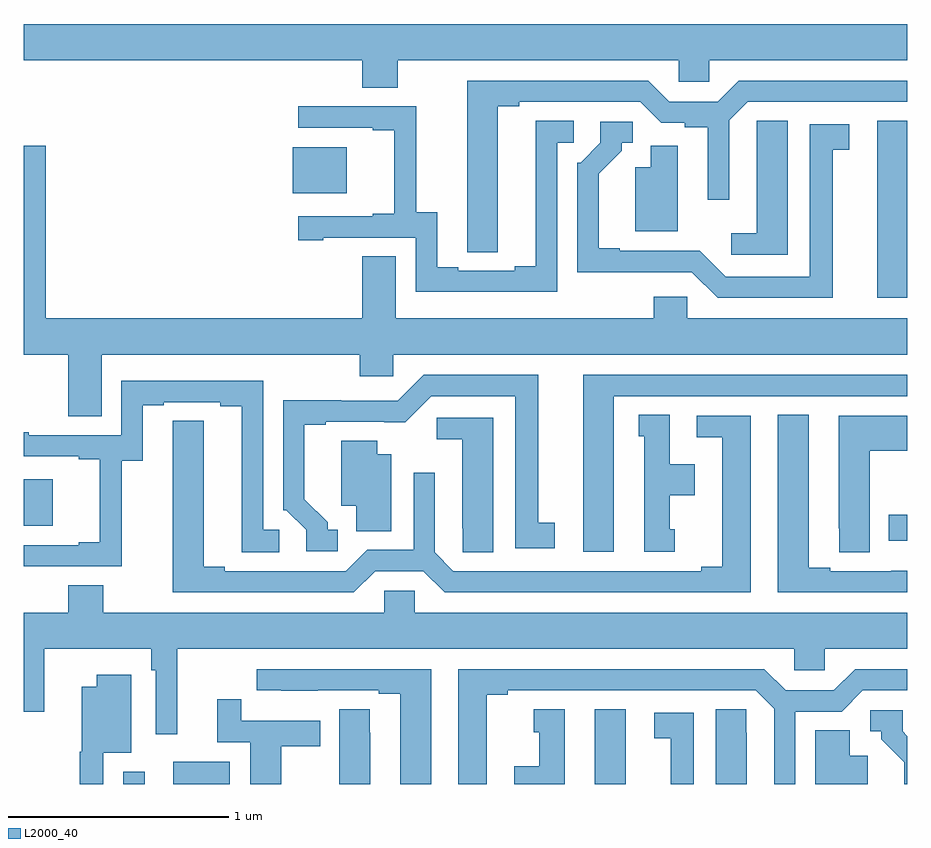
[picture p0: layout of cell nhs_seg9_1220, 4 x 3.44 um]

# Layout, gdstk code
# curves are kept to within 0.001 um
import gdstk
lib = gdstk.Library(unit=1e-6, precision=1e-09)
def R(c, l, rs):  # rectangles x0, y0, x1, y1
    for r in rs: c.add(gdstk.rectangle(r[:2], r[2:], *l))
def P(c, l, *ps):  # polygons
    for p in ps: c.add(gdstk.Polygon(p, *l))
L2000_40 = (2000, 40)

nhs_seg9_1220 = lib.new_cell('nhs_seg9_1220')
R(nhs_seg9_1220, L2000_40, [(179.451,1170.5,179.548,1170.556), (179.678,1170.5,179.932,1170.601), (181.586,1170.5,181.726,1170.838), (182.915,1171.602,183,1171.719), (179,1171.67,179.131,1171.879), (182.864,1172.7,183,1173.502), (180.218,1173.173,180.463,1173.382)])
P(nhs_seg9_1220, L2000_40, [(180.693,1173.776),(181.965,1173.776),(181.965,1173.678),(182.103,1173.678),(182.103,1173.776),(183,1173.776),(183,1173.94),(179,1173.94),(179,1173.776),(180.533,1173.776),(180.533,1173.652),(180.693,1173.652)],
  [(181.147,1173.568),(181.243,1173.568),(181.243,1173.588),(181.791,1173.588),(181.887,1173.492),(181.992,1173.492),(181.992,1173.472),(182.096,1173.472),(182.096,1173.144),(182.193,1173.144),(182.193,1173.504),(182.277,1173.588),(183,1173.588),(183,1173.684),(182.237,1173.684),(182.141,1173.588),(181.923,1173.588),(181.827,1173.684),(181.007,1173.684),(181.008,1172.908),(181.147,1172.908)],
  [(181.416,1173.402),(181.489,1173.402),(181.489,1173.503),(181.319,1173.503),(181.319,1172.843),(181.223,1172.843),(181.223,1172.823),(180.967,1172.823),(180.967,1172.838),(180.871,1172.838),(180.871,1173.089),(180.777,1173.089),(180.777,1173.567),(180.243,1173.567),(180.243,1173.471),(180.581,1173.471),(180.581,1173.459),(180.677,1173.459),(180.677,1173.082),(180.581,1173.082),(180.581,1173.069),(180.243,1173.069),(180.243,1172.961),(180.355,1172.961),(180.355,1172.973),(180.774,1172.973),(180.774,1172.727),(181.416,1172.727)],
  [(182.458,1173.503),(182.319,1173.503),(182.319,1173.395),(182.318,1173.395),(182.318,1172.992),(182.202,1172.992),(182.202,1172.895),(182.458,1172.895)],
  [(182.662,1173.37),(182.737,1173.37),(182.737,1173.486),(182.558,1173.486),(182.558,1172.796),(182.178,1172.796),(182.061,1172.913),(181.699,1172.913),(181.699,1172.926),(181.603,1172.926),(181.603,1173.262),(181.708,1173.367),(181.708,1173.402),(181.758,1173.402),(181.758,1173.498),(181.611,1173.498),(181.611,1173.402),(181.521,1173.312),(181.506,1173.312),(181.506,1172.816),(182.025,1172.817),(182.142,1172.7),(182.662,1172.7)],
  [(181.96,1173.39),(181.838,1173.39),(181.838,1173.292),(181.769,1173.292),(181.769,1173.002),(181.96,1173.002)],
  [(179.353,1172.444),(180.521,1172.444),(180.521,1172.346),(180.672,1172.346),(180.672,1172.444),(183,1172.444),(183,1172.608),(182.004,1172.608),(182.004,1172.706),(181.853,1172.706),(181.853,1172.608),(180.685,1172.608),(180.685,1172.888),(180.533,1172.888),(180.533,1172.608),(179.099,1172.608),(179.099,1173.388),(179,1173.388),(179,1172.444),(179.201,1172.444),(179.201,1172.164),(179.353,1172.164)],
  [(180.421,1171.65),(180.376,1171.65),(180.376,1171.685),(180.271,1171.79),(180.271,1172.127),(180.367,1172.127),(180.367,1172.139),(180.728,1172.138),(180.846,1172.256),(181.226,1172.256),(181.226,1171.566),(181.405,1171.566),(181.405,1171.682),(181.33,1171.682),(181.33,1172.352),(180.81,1172.352),(180.693,1172.235),(180.437,1172.235),(180.437,1172.237),(180.174,1172.237),(180.174,1171.74),(180.189,1171.74),(180.279,1171.65),(180.279,1171.554),(180.421,1171.554)],
  [(181.672,1172.256),(183,1172.256),(183,1172.352),(181.532,1172.352),(181.532,1171.551),(181.672,1171.551)],
  [(179.445,1171.963),(179.539,1171.963),(179.539,1172.214),(179.635,1172.214),(179.635,1172.229),(179.891,1172.229),(179.891,1172.209),(179.987,1172.209),(179.987,1171.549),(180.157,1171.549),(180.157,1171.65),(180.084,1171.65),(180.084,1172.325),(179.442,1172.325),(179.442,1172.079),(179.023,1172.079),(179.023,1172.092),(179,1172.092),(179,1171.983),(179.249,1171.983),(179.249,1171.971),(179.345,1171.971),(179.345,1171.594),(179.249,1171.594),(179.249,1171.581),(179,1171.581),(179,1171.485),(179.445,1171.485)],
  [(183,1171.465),(182.926,1171.465),(182.926,1171.464),(182.65,1171.464),(182.65,1171.479),(182.554,1171.479),(182.554,1172.171),(182.414,1172.171),(182.414,1171.368),(183,1171.368)],
  [(181.948,1171.653),(181.924,1171.653),(181.924,1171.808),(182.038,1171.808),(182.038,1171.948),(181.924,1171.948),(181.924,1172.171),(181.784,1172.171),(181.784,1172.073),(181.808,1172.073),(181.808,1171.551),(181.948,1171.551)],
  [(182.83,1172.008),(183,1172.008),(183,1172.167),(182.69,1172.167),(182.69,1171.657),(182.691,1171.657),(182.691,1171.549),(182.83,1171.549)],
  [(180.591,1171.464),(180.809,1171.464),(180.905,1171.368),(182.29,1171.368),(182.29,1172.166),(182.046,1172.166),(182.046,1172.07),(182.162,1172.07),(182.162,1171.484),(182.066,1171.484),(182.066,1171.464),(180.945,1171.464),(180.861,1171.548),(180.861,1171.909),(180.765,1171.909),(180.765,1171.56),(180.555,1171.56),(180.459,1171.464),(179.911,1171.464),(179.911,1171.484),(179.815,1171.484),(179.815,1172.144),(179.676,1172.144),(179.675,1171.368),(180.495,1171.368)],
  [(181.126,1172.157),(180.87,1172.157),(180.87,1172.06),(180.986,1172.06),(180.986,1171.657),(180.987,1171.657),(180.987,1171.549),(181.126,1171.549)],
  [(180.664,1171.993),(180.601,1171.993),(180.601,1172.054),(180.437,1172.054),(180.437,1171.76),(180.506,1171.76),(180.506,1171.645),(180.664,1171.645)],
  [(179.696,1171.112),(182.487,1171.112),(182.487,1171.014),(182.625,1171.014),(182.625,1171.112),(183,1171.112),(183,1171.276),(180.771,1171.276),(180.771,1171.374),(180.633,1171.374),(180.633,1171.276),(179.361,1171.276),(179.361,1171.4),(179.201,1171.4),(179.201,1171.276),(179,1171.276),(179,1170.828),(179.094,1170.828),(179.094,1171.112),(179.578,1171.112),(179.578,1171.016),(179.598,1171.016),(179.598,1170.726),(179.696,1170.726)],
  [(181.096,1170.904),(181.192,1170.904),(181.192,1170.924),(182.313,1170.924),(182.397,1170.84),(182.397,1170.5),(182.493,1170.5),(182.493,1170.828),(182.703,1170.828),(182.799,1170.924),(183,1170.924),(183,1171.02),(182.763,1171.02),(182.667,1170.924),(182.449,1170.924),(182.353,1171.02),(180.968,1171.02),(180.968,1170.5),(181.096,1170.5)],
  [(180.844,1171.02),(180.054,1171.02),(180.054,1170.924),(180.166,1170.924),(180.166,1170.923),(180.332,1170.923),(180.332,1170.924),(180.608,1170.924),(180.608,1170.909),(180.704,1170.909),(180.704,1170.5),(180.844,1170.5)],
  [(179.361,1170.641),(179.488,1170.641),(179.488,1170.994),(179.33,1170.994),(179.33,1170.94),(179.264,1170.94),(179.264,1170.645),(179.253,1170.645),(179.253,1170.5),(179.361,1170.5)],
  [(180.166,1170.67),(180.343,1170.67),(180.343,1170.786),(179.984,1170.786),(179.984,1170.883),(179.876,1170.883),(179.876,1170.69),(180.026,1170.69),(180.026,1170.5),(180.166,1170.5)],
  [(182.272,1170.731),(182.271,1170.731),(182.271,1170.839),(182.132,1170.839),(182.132,1170.5),(182.272,1170.5)],
  [(180.568,1170.731),(180.567,1170.731),(180.567,1170.839),(180.428,1170.839),(180.428,1170.5),(180.568,1170.5)],
  [(181.45,1170.838),(181.31,1170.838),(181.31,1170.735),(181.334,1170.735),(181.334,1170.58),(181.22,1170.58),(181.22,1170.5),(181.45,1170.5)],
  [(183,1170.717),(182.979,1170.738),(182.979,1170.834),(182.832,1170.834),(182.832,1170.738),(182.882,1170.738),(182.882,1170.703),(182.987,1170.598),(182.987,1170.5),(183,1170.5)],
  [(182.032,1170.822),(181.854,1170.822),(181.854,1170.706),(181.928,1170.706),(181.928,1170.5),(182.032,1170.5)],
  [(182.821,1170.628),(182.74,1170.628),(182.74,1170.743),(182.582,1170.743),(182.582,1170.5),(182.821,1170.5)])

lib.write_gds('nhs_seg9_1220.gds')
